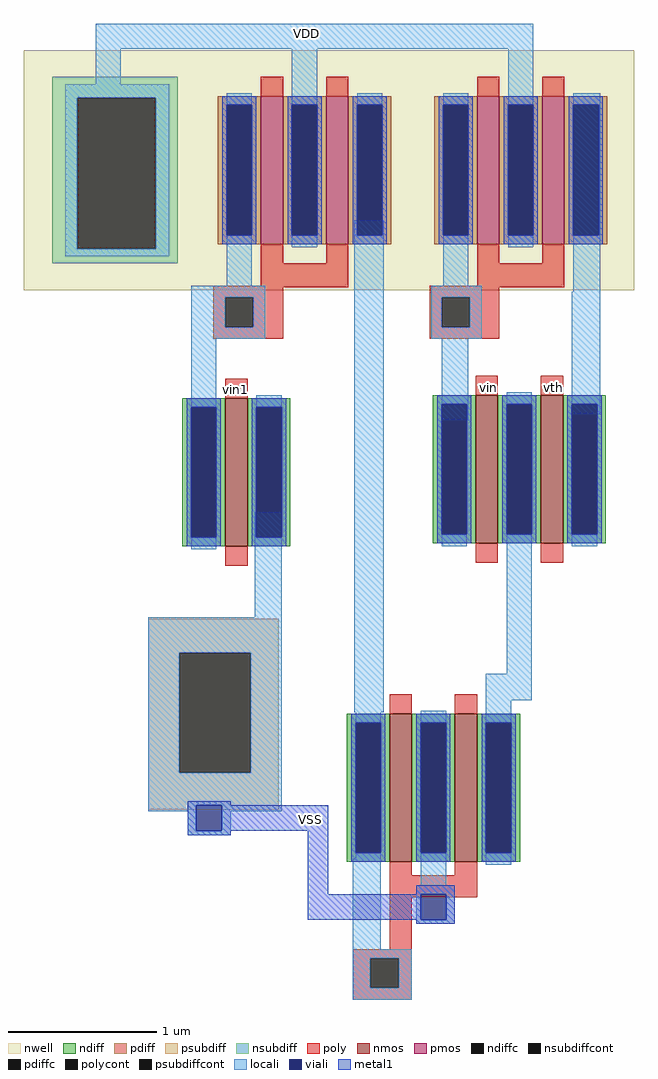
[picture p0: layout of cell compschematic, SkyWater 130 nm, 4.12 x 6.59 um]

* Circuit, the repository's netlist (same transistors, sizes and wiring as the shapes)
* SPICE3 file created from compschematic.ext - technology: sky130A

X0 li_310_142# li_132_150# VSS VSS sky130_fd_pr__nfet_01v8 ad=0.29 pd=2.58 as=0.29 ps=2.58 w=1 l=0.15
X1 li_132_150# a_n58_534# VDD VDD sky130_fd_pr__pfet_01v8 ad=0.29 pd=2.58 as=0.29 ps=2.58 w=1 l=0.15
X2 a_n58_534# a_n58_534# VDD VDD sky130_fd_pr__pfet_01v8 ad=0.29 pd=2.58 as=0.580025 ps=5.165 w=1 l=0.15
X3 a_n58_534# XM3/a_n15_n126# VSS VSS sky130_fd_pr__nfet_01v8 ad=0.29 pd=2.58 as=0.580025 ps=5.165 w=1 l=0.15
X4 a_234_534# XM4/a_n15_n126# li_310_142# VSS sky130_fd_pr__nfet_01v8 ad=0.29 pd=2.58 as=0.29 ps=2.58 w=1 l=0.15
X5 li_426_432# XM5/a_n15_n126# li_310_142# VSS sky130_fd_pr__nfet_01v8 ad=0.29 pd=2.58 as=0.580025 ps=5.165 w=1 l=0.15
X6 a_234_534# a_234_534# VDD VDD sky130_fd_pr__pfet_01v8 ad=0.29 pd=2.58 as=0 ps=0 w=1 l=0.15
X7 li_132_150# li_132_150# VSS VSS sky130_fd_pr__nfet_01v8 ad=0.29 pd=2.58 as=0 ps=0 w=1 l=0.15
X8 li_426_432# a_234_534# VDD VDD sky130_fd_pr__pfet_01v8 ad=0.29 pd=2.58 as=0 ps=0 w=1 l=0.15

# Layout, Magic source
magic
tech sky130A
magscale 1 2
<< nwell >>
rect -314 600 -68 924
rect -40 636 -6 658
rect 252 636 286 658
rect 6 604 124 636
rect 234 600 416 636
<< psubdiff >>
rect -146 110 30 156
rect -146 -52 -104 110
rect -8 -52 30 110
rect -146 -102 30 -52
<< nsubdiff >>
rect -276 860 -106 888
rect -276 656 -242 860
rect -136 656 -106 860
rect -276 636 -106 656
<< psubdiffcont >>
rect -104 -52 -8 110
<< nsubdiffcont >>
rect -242 656 -136 860
<< poly >>
rect 6 606 124 636
rect 298 606 416 636
rect -58 604 124 606
rect 234 604 416 606
rect -58 590 36 604
rect -58 550 -42 590
rect -4 550 36 590
rect -58 534 36 550
rect 234 590 328 604
rect 234 550 250 590
rect 288 550 328 590
rect 234 534 328 550
rect 180 -190 210 -186
rect 180 -220 298 -190
rect 180 -290 210 -220
rect 130 -302 210 -290
rect 130 -342 154 -302
rect 192 -342 210 -302
rect 130 -358 210 -342
<< polycont >>
rect -42 550 -4 590
rect 250 550 288 590
rect 154 -342 192 -302
<< locali >>
rect -217 926 374 960
rect -217 878 -183 926
rect -258 860 -118 878
rect -258 656 -242 860
rect -136 656 -118 860
rect 48 854 82 926
rect 340 856 374 926
rect -258 646 -118 656
rect -40 606 -6 658
rect -88 590 12 606
rect -88 550 -42 590
rect -4 550 12 590
rect -88 534 12 550
rect -88 458 -54 534
rect -2 158 34 300
rect -146 110 34 158
rect -146 -52 -104 110
rect -8 -52 34 110
rect 132 30 172 694
rect 252 606 286 658
rect 236 590 304 606
rect 428 598 464 866
rect 236 550 250 590
rect 288 550 304 590
rect 236 534 304 550
rect 250 424 286 534
rect 426 432 464 598
rect 338 82 372 256
rect 310 46 372 82
rect 310 22 344 46
rect -146 -96 34 -52
rect -146 -104 -81 -96
rect -93 -130 -81 -104
rect -47 -104 34 -96
rect -47 -130 -35 -104
rect -93 -136 -35 -130
rect 130 -290 168 -168
rect 222 -204 256 -176
rect 216 -216 268 -204
rect 216 -250 222 -216
rect 256 -250 268 -216
rect 216 -256 268 -250
rect 130 -302 210 -290
rect 130 -342 154 -302
rect 192 -342 210 -302
rect 130 -358 210 -342
<< viali >>
rect -81 -130 -47 -96
rect 222 -250 256 -216
<< metal1 >>
rect -93 -96 -35 -90
rect -93 -130 -81 -96
rect -47 -130 97 -96
rect -93 -136 -35 -130
rect 69 -216 97 -130
rect 216 -216 268 -204
rect 69 -250 222 -216
rect 256 -250 268 -216
rect 216 -256 268 -250
use sky130_fd_pr__nfet_01v8_4WGS5P  sky130_fd_pr__nfet_01v8_4WGS5P_0
transform 1 0 283 0 1 -72
box -73 -126 73 126
use sky130_fd_pr__pfet_01v8_2DBLHN  sky130_fd_pr__pfet_01v8_2DBLHN_0
transform 1 0 401 0 1 762
box -109 -162 109 162
use sky130_fd_pr__pfet_01v8_2DBLHN  XM1
transform 1 0 109 0 1 762
box -109 -162 109 162
use sky130_fd_pr__pfet_01v8_2DBLHN  XM2
transform -1 0 21 0 1 762
box -109 -162 109 162
use sky130_fd_pr__nfet_01v8_4WGS5P  XM3
transform -1 0 -27 0 1 354
box -73 -126 73 126
use sky130_fd_pr__nfet_01v8_4WGS9P  XM4
transform -1 0 311 0 1 358
box -73 -126 73 126
use sky130_fd_pr__nfet_01v8_4WGS5P  XM5
transform 1 0 399 0 1 358
box -73 -126 73 126
use sky130_fd_pr__pfet_01v8_2DBLHN  XM6
transform -1 0 313 0 1 762
box -109 -162 109 162
use sky130_fd_pr__nfet_01v8_4WGS5P  XM8
transform -1 0 195 0 1 -72
box -73 -126 73 126
<< labels >>
rlabel locali 67 947 67 947 1 VDD
rlabel space -28 466 -28 466 1 vin1
rlabel space 313 469 313 469 1 vin
rlabel space 401 468 401 468 1 vth
rlabel metal1 73 -115 73 -115 1 VSS
<< end >>

# cell sky130_fd_pr__nfet_01v8_4WGS5P: kit device sky130_fd_pr__nfet_01v8, w 1.0 l 0.15 m 1 nf 1 diffcov 100 polycov 100 guard 0 glc 1 grc 1 gtc 1 gbc 1 tbcov 100 rlcov 100 topc 0 botc 0 poverlap 0 doverlap 1 lmin 0.15 wmin 0.42 compatible {sky130_fd_pr__nfet_01v8 sky130_fd_pr__nfet_01v8_lvt sky130_fd_bs_flash__special_sonosfet_star sky130_fd_pr__nfet_g5v0d10v5 sky130_fd_pr__nfet_05v0_nvt sky130_fd_pr__nfet_03v3_nvt} full_metal 1 viasrc 100 viadrn 100 viagate 100 viagb 0 viagr 0 viagl 0 viagt 0

# cell sky130_fd_pr__pfet_01v8_2DBLHN: kit device sky130_fd_pr__pfet_01v8, w 1.0 l 0.15 m 1 nf 1 diffcov 100 polycov 100 guard 0 glc 1 grc 1 gtc 1 gbc 1 tbcov 100 rlcov 100 topc 0 botc 0 poverlap 0 doverlap 1 lmin 0.15 wmin 0.42 compatible {sky130_fd_pr__pfet_01v8 sky130_fd_pr__pfet_01v8_lvt sky130_fd_pr__pfet_01v8_hvt sky130_fd_pr__pfet_g5v0d10v5} full_metal 1 viasrc 100 viadrn 100 viagate 100 viagb 0 viagr 0 viagl 0 viagt 0

# cell sky130_fd_pr__nfet_01v8_4WGS9P: kit device sky130_fd_pr__nfet_01v8, w 1.0 l 0.15 m 1 nf 1 diffcov 100 polycov 100 guard 0 glc 1 grc 1 gtc 1 gbc 1 tbcov 100 rlcov 100 topc 0 botc 0 poverlap 0 doverlap 1 lmin 0.15 wmin 0.42 compatible {sky130_fd_pr__nfet_01v8 sky130_fd_pr__nfet_01v8_lvt sky130_fd_bs_flash__special_sonosfet_star sky130_fd_pr__nfet_g5v0d10v5 sky130_fd_pr__nfet_05v0_nvt sky130_fd_pr__nfet_03v3_nvt} full_metal 0 viasrc 100 viadrn 100 viagate 100 viagb 0 viagr 0 viagl 0 viagt 0
